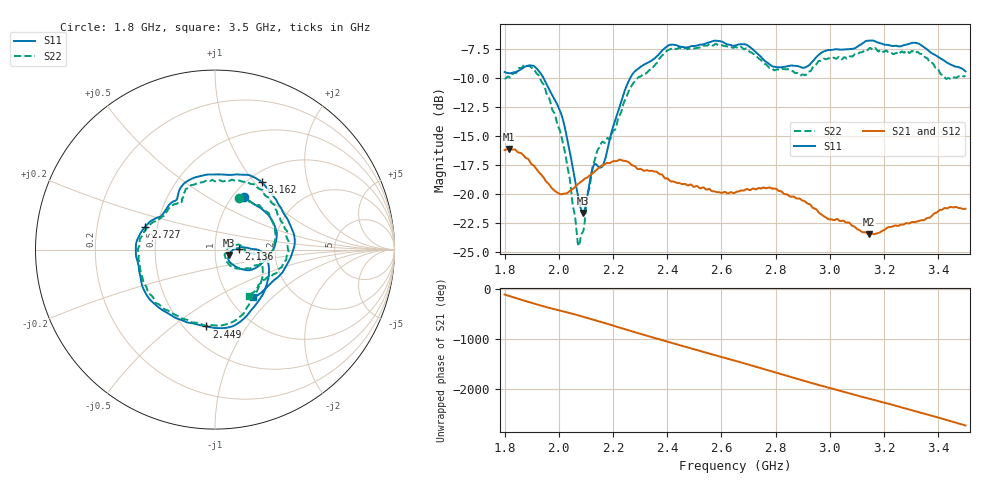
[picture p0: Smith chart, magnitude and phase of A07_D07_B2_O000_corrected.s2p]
! Created with skrf 1.9.0 (http://scikit-rf.org).
# Hz S RI R 50.0
!freq ReS11 ImS11 ReS21 ImS21 ReS12 ImS12 ReS22 ImS22
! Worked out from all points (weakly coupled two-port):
!   1601 points, 1.8 GHz to 3.5 GHz, reference 50 ohm
!   highest |S21| = -16.14 dB at 1.815 GHz (marker M1); lowest = -23.5 dB at 3.144 GHz (marker M2)
!   lowest |S11| = -21.6 dB at 2.09 GHz (marker M3), VSWR 1.18, Z = 58.3 - j3.48 ohm
!   |S11| at or under -10 dB: 1.943 GHz to 2.264 GHz (320.3 MHz wide, 15.2 % of centre)
!   |S22| runs from -24.5 to -7.1 dB; largest |S21 - S12| = 0.0031
!   S11 on the Smith chart (normalised r, x): 1.8 GHz: 1.13, +0.75; 2.136 GHz: 1.31, +0.01; 2.449 GHz: 0.64, -0.67; 2.727 GHz: 0.43, +0.13; 3.162 GHz: 1.15, +1.09; 3.5 GHz: 1.27, -0.76
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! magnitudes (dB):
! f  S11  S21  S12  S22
! 1.8 GHz  -9.5  -16.2  -16.2  -10.0
! 1.815 GHz  -9.6  -16.1  -16.1  -9.9
! 1.88 GHz  -9.0  -16.9  -16.9  -8.9
! 1.942 GHz  -10.0  -18.6  -18.6  -10.5
! 2.014 GHz  -13.5  -20.0  -20.0  -15.5
! 2.069 GHz  -19.9  -19.2  -19.2  -24.1
! 2.084 GHz  -21.5  -18.9  -18.9  -23.5
! 2.09 GHz  -21.6  -18.8  -18.8  -23.2
! 2.136 GHz  -17.4  -18.0  -18.0  -16.8
! 2.167 GHz  -17.3  -17.5  -17.5  -15.6
! 2.266 GHz  -9.9  -17.5  -17.4  -10.8
! 2.367 GHz  -8.0  -18.2  -18.2  -8.5
! 2.449 GHz  -7.3  -19.1  -19.1  -7.5
! 2.65 GHz  -7.2  -19.9  -19.9  -7.3
! 2.727 GHz  -7.8  -19.6  -19.6  -8.1
! 2.799 GHz  -9.0  -19.6  -19.6  -9.3
! 2.934 GHz  -8.7  -21.1  -21.1  -9.2
! 3.144 GHz  -6.8  -23.5  -23.4  -7.5
! 3.162 GHz  -6.8  -23.5  -23.4  -7.5
! 3.217 GHz  -7.2  -22.9  -22.8  -7.8
! 3.324 GHz  -7.0  -22.4  -22.4  -7.8
! 3.5 GHz  -9.4  -21.3  -21.3  -9.9
